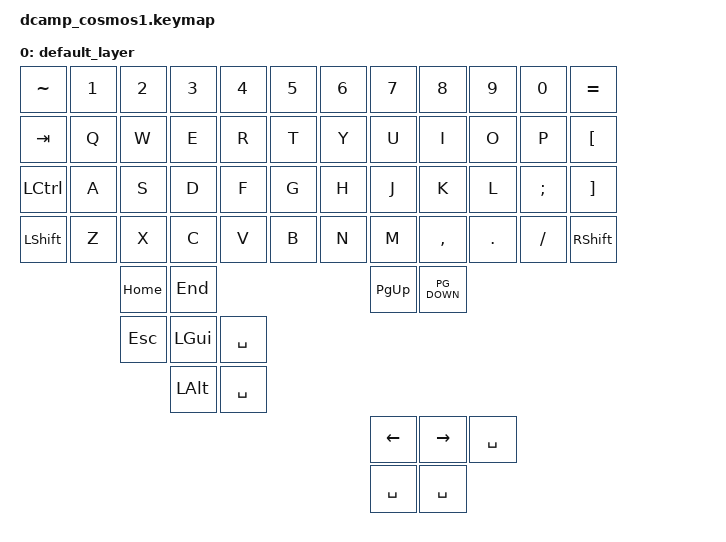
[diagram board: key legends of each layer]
// This file was generated from a template. Edit it to match your keyboard.
// See https://zmk.dev/docs/development/hardware-integration/new-shield for more instructions.

#include <behaviors.dtsi>
#include <dt-bindings/zmk/keys.h>

/ {
    // Define a default keymap here.
    // See https://zmk.dev/docs/development/hardware-integration/new-shield#default-keymap.
    keymap {
        compatible = "zmk,keymap";

        default_layer {
            bindings = <
                &kp TILDE &kp N1 &kp N2 &kp N3 &kp N4 &kp N5      &kp N6 &kp N7 &kp N8    &kp N9  &kp N0 &kp EQUAL
                &kp TAB   &kp Q  &kp W  &kp E  &kp R  &kp T       &kp Y  &kp U  &kp I     &kp O   &kp P  &kp LBKT
                &kp LCTRL &kp A  &kp S  &kp D  &kp F  &kp G       &kp H  &kp J  &kp K     &kp L   &kp SEMI &kp RBKT
                &kp LSHFT &kp Z  &kp X  &kp C  &kp V  &kp B       &kp N  &kp M  &kp COMMA &kp DOT &kp SLASH &kp RSHFT
                                 &kp HOME &kp END                      &kp PG_UP &kp PG_DOWN


                                 &kp ESC &kp LGUI &kp SPACE
                                        &kp LALT &kp SPACE 
                                                                        &kp LEFT &kp RIGHT &kp SPACE
                                                                        &kp SPACE &kp SPACE

            >;
        };
    };
};
